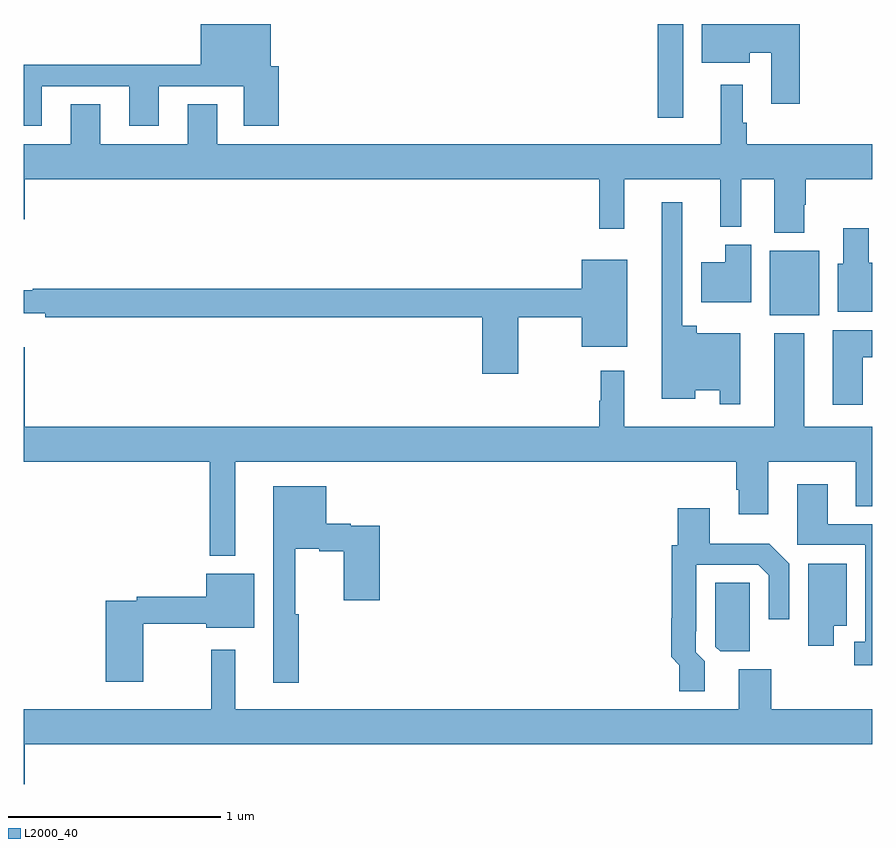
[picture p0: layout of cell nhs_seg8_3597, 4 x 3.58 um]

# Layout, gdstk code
import gdstk
lib = gdstk.Library(unit=1e-6, precision=1e-09)
def R(c, l, rs):  # rectangles x0, y0, x1, y1
    for r in rs: c.add(gdstk.rectangle(r[:2], r[2:], *l))
def P(c, l, *ps):  # polygons
    for p in ps: c.add(gdstk.Polygon(p, *l))
L2000_40 = (2000, 40)

nhs_seg8_3597 = lib.new_cell('nhs_seg8_3597')
R(nhs_seg8_3597, L2000_40, [(336.518,1114.526,336.751,1114.831), (335.988,1115.457,336.109,1115.9)])
P(nhs_seg8_3597, L2000_40, [(333.085,1115.607),(333.497,1115.607),(333.497,1115.421),(333.637,1115.421),(333.637,1115.607),(334.037,1115.607),(334.037,1115.421),(334.202,1115.421),(334.202,1115.7),(334.165,1115.7),(334.165,1115.9),(333.833,1115.9),(333.833,1115.708),(333,1115.708),(333,1115.421),(333.085,1115.421)],
  [(336.659,1115.9),(336.197,1115.9),(336.197,1115.717),(336.424,1115.717),(336.424,1115.764),(336.524,1115.764),(336.524,1115.523),(336.659,1115.523)],
  [(336.409,1115.435),(336.391,1115.435),(336.391,1115.614),(336.287,1115.614),(336.287,1115.332),(333.913,1115.332),(333.913,1115.522),(333.773,1115.522),(333.773,1115.332),(333.361,1115.332),(333.361,1115.522),(333.221,1115.522),(333.221,1115.332),(333,1115.332),(333,1114.98),(333.004,1114.98),(333.004,1115.168),(335.713,1115.168),(335.713,1114.935),(335.831,1114.935),(335.831,1115.168),(336.284,1115.168),(336.284,1114.943),(336.382,1114.943),(336.382,1115.168),(336.539,1115.168),(336.539,1114.916),(336.679,1114.916),(336.679,1115.048),(336.687,1115.048),(336.687,1115.168),(337,1115.168),(337,1115.332),(336.409,1115.332)],
  [(336.378,1114.441),(336.174,1114.441),(336.174,1114.477),(336.105,1114.477),(336.105,1115.059),(336.008,1115.059),(336.008,1114.133),(336.166,1114.133),(336.166,1114.172),(336.282,1114.172),(336.282,1114.107),(336.378,1114.107)],
  [(337,1114.774),(336.985,1114.774),(336.985,1114.936),(336.863,1114.936),(336.863,1114.77),(336.839,1114.77),(336.839,1114.544),(337,1114.544)],
  [(336.43,1114.858),(336.308,1114.858),(336.308,1114.777),(336.194,1114.777),(336.194,1114.589),(336.43,1114.589)],
  [(335.332,1114.516),(335.63,1114.516),(335.63,1114.379),(335.845,1114.379),(335.845,1114.789),(335.63,1114.789),(335.63,1114.652),(333.041,1114.652),(333.041,1114.645),(333,1114.645),(333,1114.535),(333.1,1114.535),(333.1,1114.516),(335.162,1114.516),(335.162,1114.251),(335.332,1114.251)],
  [(336.955,1114.328),(337,1114.328),(337,1114.456),(336.815,1114.456),(336.815,1114.104),(336.955,1114.104)],
  [(336.359,1113.703),(336.371,1113.703),(336.371,1113.588),(336.511,1113.588),(336.511,1113.836),(336.923,1113.836),(336.923,1113.625),(337,1113.625),(337,1114),(336.679,1114),(336.679,1114.441),(336.539,1114.441),(336.539,1114),(335.83,1114),(335.83,1114.264),(335.721,1114.264),(335.721,1114.124),(335.713,1114.124),(335.713,1114),(333.004,1114),(333.004,1114.375),(333,1114.375),(333,1113.836),(333.876,1113.836),(333.876,1113.392),(333.997,1113.392),(333.997,1113.836),(336.359,1113.836)],
  [(337,1113.54),(336.79,1113.54),(336.79,1113.73),(336.647,1113.73),(336.647,1113.444),(336.968,1113.444),(336.968,1112.986),(336.915,1112.986),(336.915,1112.877),(337,1112.877)],
  [(334.297,1113.117),(334.279,1113.117),(334.279,1113.425),(334.394,1113.425),(334.394,1113.413),(334.508,1113.413),(334.508,1113.183),(334.679,1113.183),(334.679,1113.535),(334.542,1113.535),(334.542,1113.543),(334.426,1113.543),(334.426,1113.721),(334.175,1113.721),(334.175,1112.793),(334.297,1112.793)],
  [(336.211,1112.894),(336.168,1112.937),(336.168,1113.037),(336.171,1113.037),(336.171,1113.351),(336.462,1113.351),(336.513,1113.3),(336.513,1113.093),(336.609,1113.093),(336.609,1113.354),(336.515,1113.448),(336.235,1113.448),(336.235,1113.616),(336.083,1113.616),(336.083,1113.441),(336.055,1113.441),(336.055,1113.098),(336.053,1113.098),(336.053,1112.916),(336.091,1112.877),(336.091,1112.754),(336.211,1112.754)],
  [(336.82,1113.062),(336.88,1113.062),(336.88,1113.355),(336.698,1113.355),(336.698,1112.967),(336.82,1112.967)],
  [(333.564,1113.072),(333.86,1113.072),(333.86,1113.053),(334.087,1113.053),(334.087,1113.307),(333.86,1113.307),(333.86,1113.2),(333.532,1113.2),(333.532,1113.18),(333.386,1113.18),(333.386,1112.799),(333.564,1112.799)],
  [(336.424,1113.155),(336.423,1113.155),(336.423,1113.266),(336.261,1113.266),(336.261,1112.964),(336.285,1112.941),(336.424,1112.941)],
  [(333.004,1112.504),(337,1112.504),(337,1112.668),(336.524,1112.668),(336.524,1112.856),(336.371,1112.856),(336.371,1112.668),(333.997,1112.668),(333.997,1112.95),(333.883,1112.95),(333.883,1112.668),(333,1112.668),(333,1112.316),(333.004,1112.316)])

lib.write_gds('nhs_seg8_3597.gds')
